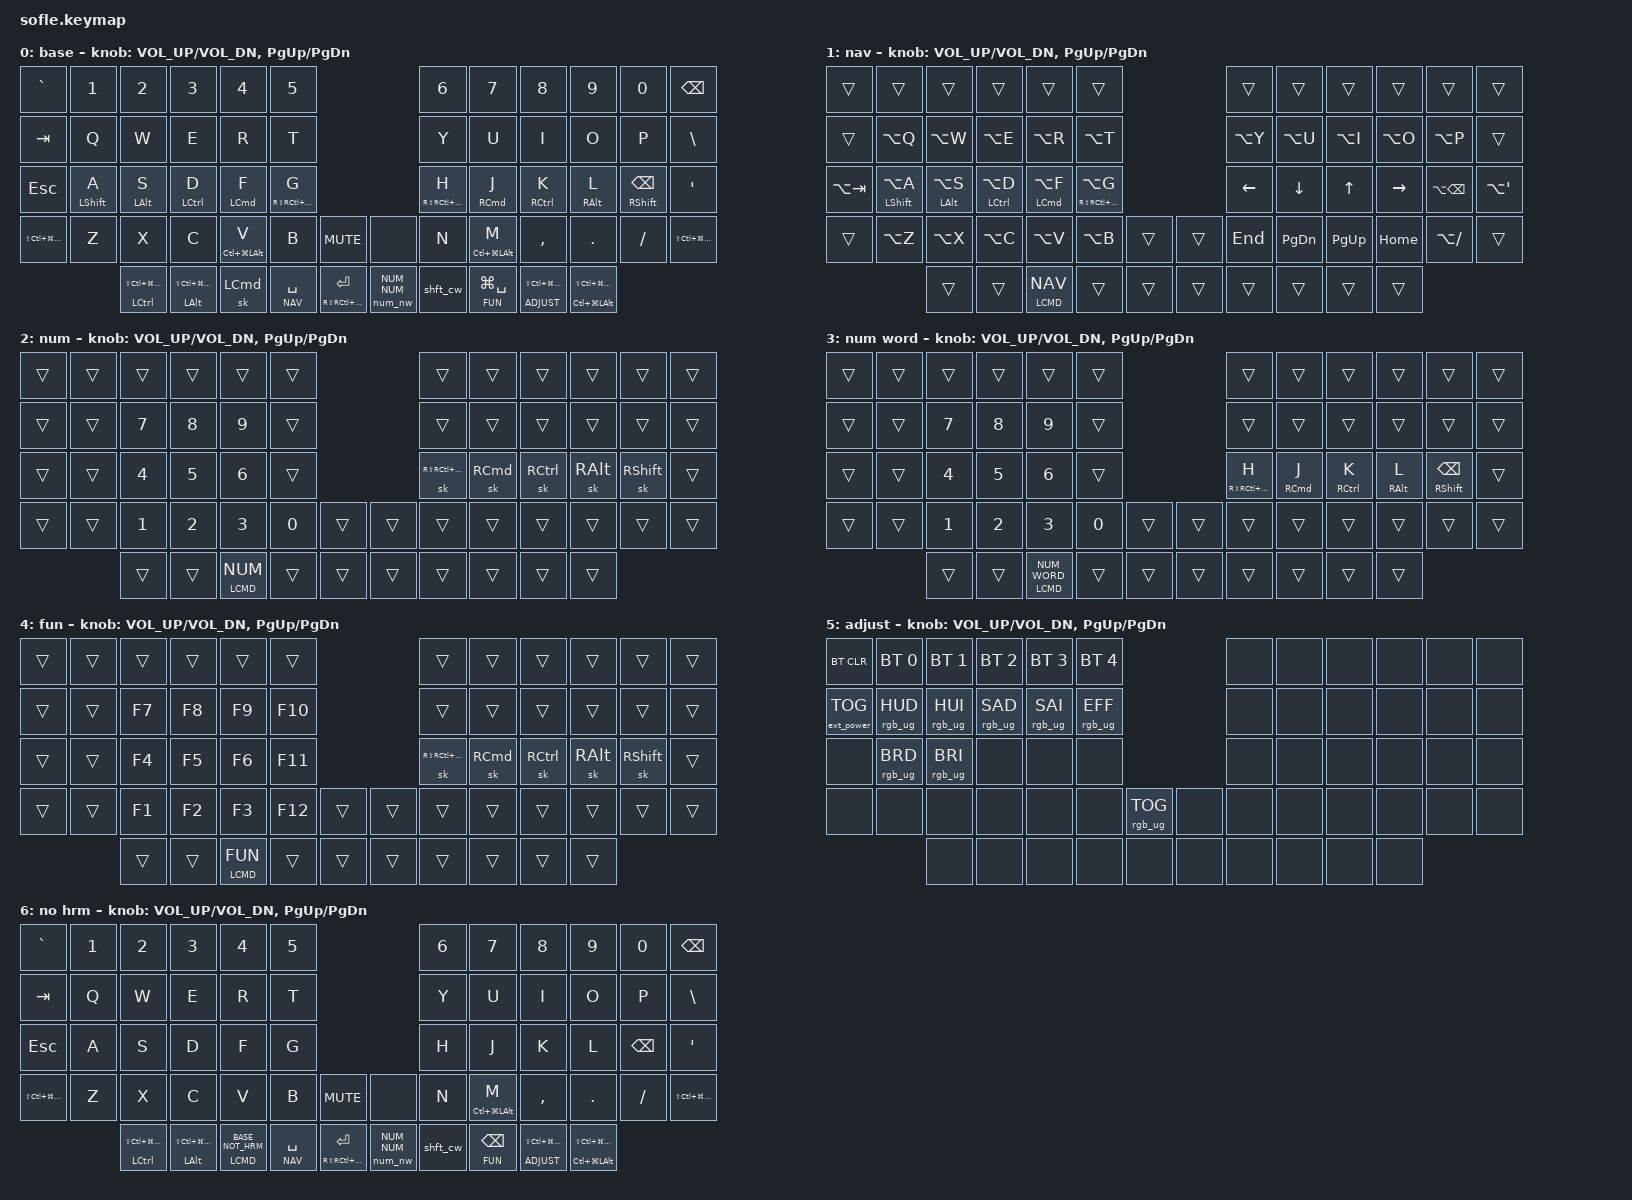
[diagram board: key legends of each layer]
/* source key position labels */
#include "includes/keypos_60keys.h"

#define KEYS_L LN0 LN1 LN2 LN3 LN4 LN5 LT0 LT1 LT2 LT3 LT4 LT5 LM0 LM1 LM2 LM3 LM4 LM5 LB0 LB1 LB2 LB3 LB4 LB5  // left hand
#define KEYS_R RN0 RN1 RN2 RN3 RN4 RN5 RT0 RT1 RT2 RT3 RT4 RT5 RM0 RM1 RM2 RM3 RM4 RM5 RB0 RB1 RB2 RB3 RB4 RB5 // right hand
#define KEYS_T LH4 LH3 LH2 LH1 LH0 RH0 RH1 RH2 RH3 RH4                                    // thumbs
// Layer define
#define BASE 0
#define NAV 1
#define NUM 2
#define NUM_WORD 3
#define FUN 4
#define ADJUST 5
#define BASE_NOT_HRM 6

// HYPER and MEH define
#define HYPER RS(RC(RG(LALT)))
#define MEH LC(LG(LALT))

// Left magic key
#define LMK LS(LC(LG(LA(F15))))
#define LMK1 LS(LC(LG(LA(F16))))
#define LMK2 LS(LC(LG(LA(F17))))
#define RMK LS(LC(LG(LA(F18))))
#define RMK1 LS(LC(LG(LA(F19))))
#define RMK2 LS(LC(LG(LA(F20))))

#define SPOTLIGHT LG(SPACE)


#include <behaviors.dtsi>
#include <dt-bindings/zmk/keys.h>
#include <dt-bindings/zmk/bt.h>
#include <dt-bindings/zmk/rgb.h>
#include <dt-bindings/zmk/ext_power.h>

#include "includes/settings.dtsi"
#include "includes/behaviours.dtsi"


// #define ADJUST 3
// #define MOUSE 5
// #define SYM 1

/* Global settings */
#define XXX &none
#define ___ &trans


#define COMBO_TERM_FAST 35
#define COMBO_TERM_SLOW 40
#define COMBO_PRIOR_IDLE 100

// #define MAKE_HRM(NAME, HOLD, TAP, TRIGGER_POS) \
//     ZMK_HOLD_TAP(NAME, \
//         flavor = "balanced"; \
//         tapping-term-ms = <280>; \
//         quick-tap-ms = <QUICK_TAP_MS>; \
//         require-prior-idle-ms = <150>; \
//         bindings = <HOLD>, <TAP>; \
//         hold-trigger-key-positions = <TRIGGER_POS>; \
//         hold-trigger-on-release; \
//     )
// MAKE_HRM(hml, &kp, &kp, KEYS_R THUMBS)  // left-hand HRMs
// MAKE_HRM(hmr, &kp, &kp, KEYS_L THUMBS)  // right-hand HRMs

// MAKE_HRM(hml_repeat, &kp, &key_repeat, KEYS_R THUMBS)  // used for HRM-combo
// MAKE_HRM(hmr_lpar_lt, &kp, &lpar_lt, KEYS_L THUMBS)    // "    "   "   "
// MAKE_HRM(hmr_rpar_gt, &kp, &rpar_gt, KEYS_L THUMBS)    // "    "   "   "

/* Nav cluster */
/ {

    combos {
/*                                      60 KEY MATRIX / LAYOUT MAPPING

  ╭────────────────────────────┬────────────────────────────╮ ╭─────────────────────────────┬─────────────────────────────╮
  │  0   1   2   3   4   5     │      6   7   8   9  10  11 │ │ LN5 LN4 LN3 LN2 LN1 LN0     │     RN0 RN1 RN2 RN3 RN4 RN5 │
  │ 12  13  14  15  16  17     │     18  19  20  21  22  23 │ │ LT5 LT4 LT3 LT2 LT1 LT0     │     RT0 RT1 RT2 RT3 RT4 RT5 │
  │ 24  25  26  27  28  29     │     30  31  32  33  34  35 │ │ LM5 LM4 LM3 LM2 LM1 LM0     │     RM0 RM1 RM2 RM3 RM4 RM5 │
  │ 36  37  38  39  40  41  42 │ 43  44  45  46  47  48  49 │ │ LB5 LB4 LB3 LB2 LB1 LB0 LEC │ REC RB0 RB1 RB2 RB3 RB4 RB5 │
  ╰───────╮ 50  51  52  53  54 │ 55  56  57  58  59 ╭───────╯ ╰───────╮ LH4 LH3 LH2 LH1 LH0 │ RH0 RH1 RH2 RH3 RH4 ╭───────╯
          ╰────────────────────┴────────────────────╯                 ╰─────────────────────┴─────────────────────╯         */
        compatible = "zmk,combos";
    
        combo_tog_base_no_hrm {
          timeout-ms = <COMBO_TERM_SLOW>;
          require-prior-idle-ms = <COMBO_PRIOR_IDLE>;
          key-positions = <38 39 40>;
          layers = <BASE NAV NUM NUM_WORD BASE_NOT_HRM>;
          bindings = <&tog BASE_NOT_HRM>;
        };

        cb_tab {
          timeout-ms = <COMBO_TERM_FAST>;
          require-prior-idle-ms = <COMBO_PRIOR_IDLE>;
          key-positions = <14 15>;
          layers = <BASE NAV NUM NUM_WORD BASE_NOT_HRM>;
          bindings = <&kp TAB>;
        };
        // cb_spotlight {
        //   timeout-ms = <COMBO_TERM_SLOW>;
        //   require-prior-idle-ms = <COMBO_PRIOR_IDLE>;
        //   key-positions = <15 16>;
        //   layers = <BASE BASE_NOT_HRM>;
        //   bindings = <&kp LG(SPACE)>;
        // };
        // cb_changeinputsource {
        //   timeout-ms = <COMBO_TERM_FAST>;
        //   require-prior-idle-ms = <COMBO_PRIOR_IDLE>;
        //   key-positions = <15 16>;
        //   layers = <BASE NAV NUM NUM_WORD BASE_NOT_HRM>;
        //   bindings = <&kp LC(SPACE)>;
        // };
        cb_changeinputsource_en {
          timeout-ms = <COMBO_TERM_FAST>;
          require-prior-idle-ms = <COMBO_PRIOR_IDLE>;
          key-positions = <15 28>;
          layers = <BASE NAV NUM>;
          bindings = <&kp LC(LG(LA(E)))>;
        };
        cb_changeinputsource_vi {
          timeout-ms = <COMBO_TERM_FAST>;
          require-prior-idle-ms = <COMBO_PRIOR_IDLE>;
          key-positions = <27 40>;
          layers = <BASE NAV NUM NUM_WORD BASE_NOT_HRM>;
          bindings = <&kp LC(LG(LA(V)))>;
        };
        cb_esc {
          timeout-ms = <COMBO_TERM_FAST>;
          require-prior-idle-ms = <COMBO_PRIOR_IDLE>;
          key-positions = <28 29>;
          layers = <BASE NAV NUM NUM_WORD BASE_NOT_HRM>;
          bindings = <&kp ESC>;
        };
        cb_close {
          timeout-ms = <COMBO_TERM_FAST>;
          require-prior-idle-ms = <COMBO_PRIOR_IDLE>;
          key-positions = <13 14>;
          layers = <BASE NAV NUM NUM_WORD BASE_NOT_HRM>;
          bindings = <&kp LG(W)>;
        };
        // cb_new { timeout-ms = <COMBO_TERM_FAST>;
        //   require-prior-idle-ms = <COMBO_PRIOR_IDLE>;
        //   key-positions = <16 17>;
        //   layers = <BASE NAV NUM NUM_WORD BASE_NOT_HRM>;
        //   bindings = <&kp LG(T)>;
        // };
        cb_paste {
          timeout-ms = <COMBO_TERM_FAST>;
          require-prior-idle-ms = <COMBO_PRIOR_IDLE>;
          key-positions = <39 40>;
          layers = <BASE NAV NUM NUM_WORD BASE_NOT_HRM>;
          bindings = <&kp LG(V)>;
        };
        cb_copy {
          timeout-ms = <COMBO_TERM_FAST>;
          require-prior-idle-ms = <COMBO_PRIOR_IDLE>;
          key-positions = <38 39>;
          layers = <BASE NAV NUM NUM_WORD BASE_NOT_HRM>;
          bindings = <&kp LG(C)>;
        };
        // cb_cut {
        //   timeout-ms = <COMBO_TERM_FAST>;
        //   require-prior-idle-ms = <COMBO_PRIOR_IDLE>;
        //   key-positions = <38 39>;
        //   layers = <BASE NAV NUM NUM_WORD BASE_NOT_HRM>;
        //   bindings = <&kp LG(X)>;
        // };
        cb_undo {
          timeout-ms = <COMBO_TERM_FAST>;
          require-prior-idle-ms = <COMBO_PRIOR_IDLE>;
          key-positions = <37 38>;
          layers = <BASE NAV NUM NUM_WORD BASE_NOT_HRM>;
          bindings = <&kp LG(Z)>;
        };
        cb_redo {
          timeout-ms = <COMBO_TERM_FAST>;
          require-prior-idle-ms = <COMBO_PRIOR_IDLE>;
          key-positions = <25 37>;
          layers = <BASE NAV NUM NUM_WORD BASE_NOT_HRM>;
          bindings = <&kp LG(LS(Z))>;
        };
        // cb_cmda {
        //   timeout-ms = <COMBO_TERM_FAST>;
        //   require-prior-idle-ms = <COMBO_PRIOR_IDLE>;
        //   key-positions = <25 26>;
        //   layers = <BASE NAV NUM NUM_WORD BASE_NOT_HRM>;
        //   bindings = <&kp LG(A)>;
        // };
        cb_optbackspace {
          timeout-ms = <COMBO_TERM_FAST>;
          require-prior-idle-ms = <COMBO_PRIOR_IDLE>;
          key-positions = <33 34>;
          layers = <BASE NAV NUM NUM_WORD BASE_NOT_HRM>;
          bindings = <&kp LA(BSPC)>;
        };
        cb_cmdbackspace {
          timeout-ms = <COMBO_TERM_FAST>;
          require-prior-idle-ms = <COMBO_PRIOR_IDLE>;
          key-positions = <34 48>;
          layers = <BASE NAV NUM NUM_WORD BASE_NOT_HRM>;
          bindings = <&kp RG(BSPC)>;
        };

/*                                      60 KEY MATRIX / LAYOUT MAPPING

  ╭────────────────────────────┬────────────────────────────╮ ╭─────────────────────────────┬─────────────────────────────╮
  │  0   1   2   3   4   5     │      6   7   8   9  10  11 │ │ LN5 LN4 LN3 LN2 LN1 LN0     │     RN0 RN1 RN2 RN3 RN4 RN5 │
  │ 12  13  14  15  16  17     │     18  19  20  21  22  23 │ │ LT5 LT4 LT3 LT2 LT1 LT0     │     RT0 RT1 RT2 RT3 RT4 RT5 │
  │ 24  25  26  27  28  29     │     30  31  32  33  34  35 │ │ LM5 LM4 LM3 LM2 LM1 LM0     │     RM0 RM1 RM2 RM3 RM4 RM5 │
  │ 36  37  38  39  40  41  42 │ 43  44  45  46  47  48  49 │ │ LB5 LB4 LB3 LB2 LB1 LB0 LEC │ REC RB0 RB1 RB2 RB3 RB4 RB5 │
  ╰───────╮ 50  51  52  53  54 │ 55  56  57  58  59 ╭───────╯ ╰───────╮ LH4 LH3 LH2 LH1 LH0 │ RH0 RH1 RH2 RH3 RH4 ╭───────╯
          ╰────────────────────┴────────────────────╯                 ╰─────────────────────┴─────────────────────╯         */
        // + - * % 
        cb_plus {
          timeout-ms = <COMBO_TERM_FAST>;
          require-prior-idle-ms = <COMBO_PRIOR_IDLE>;
          key-positions = <14 26>;
          layers = <BASE NUM NUM_WORD>;
          bindings = <&kp PLUS>;
        };
        cb_minus {
          timeout-ms = <COMBO_TERM_FAST>;
          require-prior-idle-ms = <COMBO_PRIOR_IDLE>;
          key-positions = <15 27>;
          layers = <BASE NUM NUM_WORD>;
          bindings = <&kp MINUS>;
        };
        cb_star {
          timeout-ms = <COMBO_TERM_FAST>;
          require-prior-idle-ms = <COMBO_PRIOR_IDLE>;
          key-positions = <16 28>;
          layers = <BASE NUM NUM_WORD>;
          bindings = <&kp ASTERISK>;
        };
        cb_percent {
          timeout-ms = <COMBO_TERM_FAST>;
          require-prior-idle-ms = <COMBO_PRIOR_IDLE>;
          key-positions = <17 29>;
          layers = <BASE NUM NUM_WORD>;
          bindings = <&kp PRCNT>;
        };
        // ! & | =
        cb_excl {
          timeout-ms = <COMBO_TERM_FAST>;
          require-prior-idle-ms = <COMBO_PRIOR_IDLE>;
          key-positions = <26 38>;
          layers = <BASE NUM NUM_WORD>;
          bindings = <&kp EXCL>;
        };
        cb_amps {
          timeout-ms = <COMBO_TERM_FAST>;
          require-prior-idle-ms = <COMBO_PRIOR_IDLE>;
          key-positions = <27 39>;
          layers = <BASE NUM NUM_WORD>;
          bindings = <&kp AMPS>;
        };
        cb_pipe {
          timeout-ms = <COMBO_TERM_FAST>;
          require-prior-idle-ms = <COMBO_PRIOR_IDLE>;
          key-positions = <28 40>;
          layers = <BASE NUM NUM_WORD>;
          bindings = <&kp PIPE>;
        };
        cb_equal {
          timeout-ms = <COMBO_TERM_FAST>;
          require-prior-idle-ms = <COMBO_PRIOR_IDLE>;
          key-positions = <29 41>;
          layers = <BASE NUM NUM_WORD>;
          bindings = <&kp EQUAL>;
        };
        // ^ $
        cb_caret {
          timeout-ms = <COMBO_TERM_FAST>;
          require-prior-idle-ms = <COMBO_PRIOR_IDLE>;
          key-positions = <18 30>;
          layers = <BASE NUM NUM_WORD>;
          bindings = <&kp CARET>;
        };
        cb_dollar {
          timeout-ms = <COMBO_TERM_FAST>;
          require-prior-idle-ms = <COMBO_PRIOR_IDLE>;
          key-positions = <21 33>;
          layers = <BASE NUM NUM_WORD>;
          bindings = <&kp DLLR>;
        };
/*                                      60 KEY MATRIX / LAYOUT MAPPING

  ╭────────────────────────────┬────────────────────────────╮ ╭─────────────────────────────┬─────────────────────────────╮
  │  0   1   2   3   4   5     │      6   7   8   9  10  11 │ │ LN5 LN4 LN3 LN2 LN1 LN0     │     RN0 RN1 RN2 RN3 RN4 RN5 │
  │ 12  13  14  15  16  17     │     18  19  20  21  22  23 │ │ LT5 LT4 LT3 LT2 LT1 LT0     │     RT0 RT1 RT2 RT3 RT4 RT5 │
  │ 24  25  26  27  28  29     │     30  31  32  33  34  35 │ │ LM5 LM4 LM3 LM2 LM1 LM0     │     RM0 RM1 RM2 RM3 RM4 RM5 │
  │ 36  37  38  39  40  41  42 │ 43  44  45  46  47  48  49 │ │ LB5 LB4 LB3 LB2 LB1 LB0 LEC │ REC RB0 RB1 RB2 RB3 RB4 RB5 │
  ╰───────╮ 50  51  52  53  54 │ 55  56  57  58  59 ╭───────╯ ╰───────╮ LH4 LH3 LH2 LH1 LH0 │ RH0 RH1 RH2 RH3 RH4 ╭───────╯
          ╰────────────────────┴────────────────────╯                 ╰─────────────────────┴─────────────────────╯         */
      
        
        // [ ] { } ( ) :;
        cb_lbkt {
          timeout-ms = <COMBO_TERM_FAST>;
          require-prior-idle-ms = <COMBO_PRIOR_IDLE>;
          key-positions = <18 19>;
          layers = <BASE NUM NUM_WORD>;
          bindings = <&kp LBKT>;
        };
        cb_rbkt { 
          timeout-ms = <COMBO_TERM_FAST>;
          require-prior-idle-ms = <COMBO_PRIOR_IDLE>;
          key-positions = <44 45>;
          layers = <BASE NUM NUM_WORD>;
          bindings = <&kp RBKT>;
        };
        cb_lbrc { 
          timeout-ms = <COMBO_TERM_FAST>;
          require-prior-idle-ms = <COMBO_PRIOR_IDLE>;
          key-positions = <19 20>;
          layers = <BASE NUM NUM_WORD>;
          bindings = <&kp LBRC>;
        };
        cb_rbrc { 
          timeout-ms = <COMBO_TERM_FAST>;
          require-prior-idle-ms = <COMBO_PRIOR_IDLE>;
          key-positions = <45 46>;
          layers = <BASE NUM NUM_WORD>;
          bindings = <&kp RBRC>;
        };
        cb_lpar {
          timeout-ms = <COMBO_TERM_FAST>;
          require-prior-idle-ms = <COMBO_PRIOR_IDLE>;
          key-positions = <20 21>;
          layers = <BASE NUM NUM_WORD>;
          bindings = <&kp LPAR>;
        };
        cb_rpar { 
          timeout-ms = <COMBO_TERM_FAST>;
          require-prior-idle-ms = <COMBO_PRIOR_IDLE>;
          key-positions = <46 47>;
          layers = <BASE NUM NUM_WORD>;
          bindings = <&kp RPAR>;
        };
        cb_semi {
          timeout-ms = <COMBO_TERM_FAST>;
          require-prior-idle-ms = <COMBO_PRIOR_IDLE>;
          key-positions = <32 45>;
          layers = <BASE NUM NUM_WORD>;
          bindings = <&kp SEMI>;
        };
        cb_colon { 
          timeout-ms = <COMBO_TERM_FAST>;
          require-prior-idle-ms = <COMBO_PRIOR_IDLE>;
          key-positions = <20 31>;
          layers = <BASE NUM NUM_WORD>;
          bindings = <&kp COLON>;
        };
     

        // " ' _ @
        cb_dqt { 
          timeout-ms = <COMBO_TERM_FAST>;
          require-prior-idle-ms = <COMBO_PRIOR_IDLE>;
          key-positions = <19 31>;
          layers = <BASE NUM NUM_WORD>;
          bindings = <&kp DQT>;
        };
        cb_under { 
          timeout-ms = <COMBO_TERM_FAST>;
          require-prior-idle-ms = <COMBO_PRIOR_IDLE>;
          key-positions = <20 32>;
          layers = <BASE NUM NUM_WORD>;
          bindings = <&kp UNDER>;
        };
        // cb_sqt { 
        //   timeout-ms = <COMBO_TERM_FAST>;
        //   require-prior-idle-ms = <COMBO_PRIOR_IDLE>;
        //   key-positions = <20 33>;
        //   layers = <BASE NUM NUM_WORD>;
        //   bindings = <&kp SQT>;
        // };
        cb_at {
          timeout-ms = <COMBO_TERM_FAST>;
          require-prior-idle-ms = <COMBO_PRIOR_IDLE>;
          key-positions = <30 31>;
          layers = <BASE NUM NUM_WORD>;
          bindings = <&kp AT>;
        };
        // ` ~  #  backslash
        cb_grave {
          timeout-ms = <COMBO_TERM_FAST>;
          require-prior-idle-ms = <COMBO_PRIOR_IDLE>;
          key-positions = <30 44>;
          layers = <BASE NUM NUM_WORD>;
          bindings = <&kp GRAVE>;
        };
        cb_tilde {
          timeout-ms = <COMBO_TERM_FAST>;
          require-prior-idle-ms = <COMBO_PRIOR_IDLE>;
          key-positions = <31 45>;
          layers = <BASE NUM NUM_WORD>;
          bindings = <&kp TILDE>;
        };
        cb_hash {
          timeout-ms = <COMBO_TERM_FAST>;
          require-prior-idle-ms = <COMBO_PRIOR_IDLE>;
          key-positions = <32 46>;
          layers = <BASE NUM NUM_WORD>;
          bindings = <&kp HASH>;
        };
        cb_backslash {
          timeout-ms = <COMBO_TERM_FAST>;
          require-prior-idle-ms = <COMBO_PRIOR_IDLE>;
          key-positions = <33 47>;
          layers = <BASE NUM NUM_WORD>;
          bindings = <&kp BSLH>;
        };

/*                                      60 KEY MATRIX / LAYOUT MAPPING

  ╭────────────────────────────┬────────────────────────────╮ ╭─────────────────────────────┬─────────────────────────────╮
  │  0   1   2   3   4   5     │      6   7   8   9  10  11 │ │ LN5 LN4 LN3 LN2 LN1 LN0     │     RN0 RN1 RN2 RN3 RN4 RN5 │
  │ 12  13  14  15  16  17     │     18  19  20  21  22  23 │ │ LT5 LT4 LT3 LT2 LT1 LT0     │     RT0 RT1 RT2 RT3 RT4 RT5 │
  │ 24  25  26  27  28  29     │     30  31  32  33  34  35 │ │ LM5 LM4 LM3 LM2 LM1 LM0     │     RM0 RM1 RM2 RM3 RM4 RM5 │
  │ 36  37  38  39  40  41  42 │ 43  44  45  46  47  48  49 │ │ LB5 LB4 LB3 LB2 LB1 LB0 LEC │ REC RB0 RB1 RB2 RB3 RB4 RB5 │
  ╰───────╮ 50  51  52  53  54 │ 55  56  57  58  59 ╭───────╯ ╰───────╮ LH4 LH3 LH2 LH1 LH0 │ RH0 RH1 RH2 RH3 RH4 ╭───────╯
          ╰────────────────────┴────────────────────╯                 ╰─────────────────────┴─────────────────────╯         */
         
    };
    keymap {
        compatible = "zmk,keymap";

        base_layer {
            display-name = "base";
            bindings = <
//╭──────────╮ ╭─────────────┬─────────────┬─────────────┬─────────────┬─────────────╮                              ╭─────────────┬─────────────┬─────────────┬─────────────┬─────────────╮ ╭──────────╮
   &kp GRAVE     &kp N1        &kp N2        &kp N3       &kp N4        &kp N5                                       &kp N6        &kp N7        &kp N8        &kp N9        &kp N0          &kp BSPC
//├──────────┤ ├─────────────┼─────────────┼─────────────┼─────────────┼─────────────┤                              ├─────────────┼─────────────┼─────────────┼─────────────┼─────────────┤ ├──────────┤
   &kp TAB       &kp Q         &kp W         &kp E        &kp R         &kp T                                        &kp Y         &kp U         &kp I         &kp O         &kp P           &kp BSLH
//├──────────┤ ├─────────────┼─────────────┼─────────────┼─────────────┼─────────────┤                              ├─────────────┼─────────────┼─────────────┼─────────────┼─────────────┤ ├──────────┤
   &kp ESC       &hml LSHIFT A &hml LALT S   &hml LCTRL D &hml LCMD F  &hml HYPER G                                 &hmr HYPER H  &hmr RCMD J   &hmr RCTRL K  &hmr RALT L   &hmr RSHFT BSPC &kp SQT
//├──────────┤ ├─────────────┼─────────────┼─────────────┼─────────────┼─────────────┼─────────────╮  ╭─────────────├─────────────┼─────────────┼─────────────┼─────────────┼─────────────┤ ├──────────┤
   &kp LMK     &kp Z         &kp X         &kp C         &hml MEH V    &kp B         &kp C_MUTE       &none         &kp N         &hmr MEH M    &kp COMMA     &kp DOT       &kp FSLH        &kp RMK
//├──────────┤ ├─────────────┼─────────────┼─────────────┼─────────────┼─────────────┼─────────────╮  ╭─────────────├─────────────┼─────────────┼─────────────┼─────────────┼─────────────┤ ├──────────┤
                              &mt LCTRL LMK2 &mt LALT LMK1 &sk LCMD    &lt NAV SPACE &mt HYPER  RET      &num_nw NUM NUM &shft_cw    &lt FUN SPOTLIGHT  &lt ADJUST RMK1 &mt MEH RMK2
//                           ├─────────────┼─────────────┼─────────────┼─────────────┼─────────────┤  ├─────────────┼─────────────┼─────────────┼─────────────┼─────────────┤
            >;
            sensor-bindings = <&inc_dec_kp C_VOL_UP C_VOL_DN &inc_dec_kp PG_UP PG_DN>;
        };
 
        nav_layer {
            display-name = "nav";
            bindings = <
//╭──────────╮ ╭─────────────┬─────────────┬─────────────┬─────────────┬─────────────╮                              ╭─────────────┬─────────────┬─────────────┬─────────────┬─────────────╮ ╭──────────╮
   &trans       &trans        &trans        &trans        &trans        &trans                                       &trans        &trans        &trans         &trans        &trans          &trans
//├──────────┤ ├─────────────┼─────────────┼─────────────┼─────────────┼─────────────┤                              ├─────────────┼─────────────┼─────────────┼─────────────┼─────────────┤ ├──────────┤
   &trans       &kp LA(Q)     &kp LA(W)     &kp LA(E)     &kp LA(R)     &kp LA(T)                                    &kp LA(Y)     &kp LA(U)     &kp LA(I)     &kp LA(O)     &kp LA(P)       &trans
//├──────────┤ ├─────────────┼─────────────┼─────────────┼─────────────┼─────────────┤                              ├─────────────┼─────────────┼─────────────┼─────────────┼─────────────┤ ├──────────┤
   &kp LA(TAB)  &hml LSHIFT LA(A) &hml LALT LA(S) &hml LCTRL LA(D) &hml LCMD LA(F) &hml HYPER LA(G)                  &kp LEFT      &kp DOWN      &kp UP        &kp RIGHT     &kp LA(BSPC)    &kp LA(SQT)
//├──────────┤ ├─────────────┼─────────────┼─────────────┼─────────────┼─────────────┼─────────────╮  ╭─────────────├─────────────┼─────────────┼─────────────┼─────────────┼─────────────┤ ├──────────┤
   &trans       &kp LA(Z)     &kp LA(X)    &kp LA(C)      &kp LA(V)     &kp LA(B)         &trans           &trans        &kp END       &kp PG_DN     &kp PG_UP     &kp HOME      &kp LA(FSLH)    &trans
//├──────────┤ ├─────────────┼─────────────┼─────────────┼─────────────┼─────────────┼─────────────╮  ╭─────────────├─────────────┼─────────────┼─────────────┼─────────────┼─────────────┤ ├──────────┤
                              &trans        &trans        &ltog LCMD NAV  &trans        &trans           &trans        &trans        &trans        &trans        &trans
//                           ├─────────────┼─────────────┼─────────────┼─────────────┼─────────────┤  ├─────────────┼─────────────┼─────────────┼─────────────┼─────────────┤
            >;
            sensor-bindings = <&inc_dec_kp C_VOL_UP C_VOL_DN &inc_dec_kp PG_UP PG_DN>;
        };
        num_layer {
            display-name = "num";
            bindings = <
//╭──────────╮ ╭─────────────┬─────────────┬─────────────┬─────────────┬─────────────╮                              ╭─────────────┬─────────────┬─────────────┬─────────────┬─────────────╮ ╭──────────╮
   &trans        &trans        &trans        &trans        &trans        &trans                                       &trans        &trans        &trans        &trans        &trans          &trans
//├──────────┤ ├─────────────┼─────────────┼─────────────┼─────────────┼─────────────┤                              ├─────────────┼─────────────┼─────────────┼─────────────┼─────────────┤ ├──────────┤
   &trans        &trans        &kp N7       &kp N8        &kp N9        &trans                                       &trans        &trans     &trans        &trans        &trans          &trans
//├──────────┤ ├─────────────┼─────────────┼─────────────┼─────────────┼─────────────┤                              ├─────────────┼─────────────┼─────────────┼─────────────┼─────────────┤ ├──────────┤
   &trans        &trans        &kp N4       &kp N5        &kp N6        &trans                                      &sk HYPER     &sk RCMD      &sk RCTRL     &sk RALT      &sk RSHFT       &trans
//├──────────┤ ├─────────────┼─────────────┼─────────────┼─────────────┼─────────────┼─────────────╮  ╭─────────────├─────────────┼─────────────┼─────────────┼─────────────┼─────────────┤ ├──────────┤
   &trans        &trans        &kp N1       &kp N2        &kp N3        &kp N0        &trans           &trans        &trans        &trans        &trans       &trans         &trans        &trans
//├──────────┤ ├─────────────┼─────────────┼─────────────┼─────────────┼─────────────┼─────────────╮  ╭─────────────├─────────────┼─────────────┼─────────────┼─────────────┼─────────────┤ ├──────────┤
                               &trans       &trans        &ltog LCMD NUM        &trans        &trans           &trans        &trans        &trans        &trans        &trans
//                           ├─────────────┼─────────────┼─────────────┼─────────────┼─────────────┤  ├─────────────┼─────────────┼─────────────┼─────────────┼─────────────┤
            >;
            sensor-bindings = <&inc_dec_kp C_VOL_UP C_VOL_DN &inc_dec_kp PG_UP PG_DN>;
        };
        num_word_layer {
            display-name = "num word";
            bindings = <

//╭──────────╮ ╭─────────────┬─────────────┬─────────────┬─────────────┬─────────────╮                              ╭─────────────┬─────────────┬─────────────┬─────────────┬─────────────╮ ╭──────────╮
   &trans        &trans        &trans        &trans        &trans        &trans                                       &trans        &trans        &trans        &trans        &trans          &trans
//├──────────┤ ├─────────────┼─────────────┼─────────────┼─────────────┼─────────────┤                              ├─────────────┼─────────────┼─────────────┼─────────────┼─────────────┤ ├──────────┤
   &trans        &trans        &kp N7       &kp N8        &kp N9        &trans                                       &trans        &trans     &trans        &trans        &trans          &trans
//├──────────┤ ├─────────────┼─────────────┼─────────────┼─────────────┼─────────────┤                              ├─────────────┼─────────────┼─────────────┼─────────────┼─────────────┤ ├──────────┤
   &trans        &trans        &kp N4       &kp N5        &kp N6        &trans                                      &hmr HYPER H   &hmr RCMD J  &hmr RCTRL K  &hmr RALT L   &hmr RSHFT BSPC &trans
//├──────────┤ ├─────────────┼─────────────┼─────────────┼─────────────┼─────────────┼─────────────╮  ╭─────────────├─────────────┼─────────────┼─────────────┼─────────────┼─────────────┤ ├──────────┤
   &trans        &trans        &kp N1       &kp N2        &kp N3        &kp N0        &trans           &trans        &trans        &trans        &trans       &trans         &trans        &trans
//├──────────┤ ├─────────────┼─────────────┼─────────────┼─────────────┼─────────────┼─────────────╮  ╭─────────────├─────────────┼─────────────┼─────────────┼─────────────┼─────────────┤ ├──────────┤
                               &trans       &trans        &ltog LCMD NUM_WORD &trans        &trans           &trans        &trans        &trans        &trans        &trans
//                           ├─────────────┼─────────────┼─────────────┼─────────────┼─────────────┤  ├─────────────┼─────────────┼─────────────┼─────────────┼─────────────┤
            >;
           sensor-bindings = <&inc_dec_kp C_VOL_UP C_VOL_DN &inc_dec_kp PG_UP PG_DN>;
        };
        fun_layer {
            display-name = "fun";
            bindings = <
//╭──────────╮ ╭─────────────┬─────────────┬─────────────┬─────────────┬─────────────╮                              ╭─────────────┬─────────────┬─────────────┬─────────────┬─────────────╮ ╭──────────╮
   &trans       &trans        &trans        &trans        &trans        &trans                                       &trans        &trans        &trans        &trans        &trans          &trans
//├──────────┤ ├─────────────┼─────────────┼─────────────┼─────────────┼─────────────┤                              ├─────────────┼─────────────┼─────────────┼─────────────┼─────────────┤ ├──────────┤
   &trans       &trans        &kp F7        &kp F8        &kp F9        &kp F10                                      &trans        &trans        &trans        &trans        &trans          &trans
//├──────────┤ ├─────────────┼─────────────┼─────────────┼─────────────┼─────────────┤                              ├─────────────┼─────────────┼─────────────┼─────────────┼─────────────┤ ├──────────┤
   &trans       &trans        &kp F4        &kp F5        &kp F6        &kp F11                                      &sk HYPER     &sk RCMD     &sk RCTRL     &sk RALT      &sk RSHFT        &trans
//├──────────┤ ├─────────────┼─────────────┼─────────────┼─────────────┼─────────────┼─────────────╮  ╭─────────────├─────────────┼─────────────┼─────────────┼─────────────┼─────────────┤ ├──────────┤
   &trans       &trans        &kp F1        &kp F2        &kp F3        &kp F12       &trans           &trans        &trans        &trans        &trans        &trans        &trans          &trans
//├──────────┤ ├─────────────┼─────────────┼─────────────┼─────────────┼─────────────┼─────────────╮  ╭─────────────├─────────────┼─────────────┼─────────────┼─────────────┼─────────────┤ ├──────────┤
                              &trans        &trans        &ltog LCMD FUN  &trans        &trans           &trans        &trans        &trans        &trans        &trans
//                           ├─────────────┼─────────────┼─────────────┼─────────────┼─────────────┤  ├─────────────┼─────────────┼─────────────┼─────────────┼─────────────┤
            >;
            sensor-bindings = <&inc_dec_kp C_VOL_UP C_VOL_DN &inc_dec_kp PG_UP PG_DN>;
        };
        adjust_layer {
            display-name = "adjust";
            bindings = <
//╭──────────╮ ╭─────────────┬─────────────┬─────────────┬─────────────┬─────────────╮                              ╭─────────────┬─────────────┬─────────────┬─────────────┬─────────────╮ ╭──────────╮
   &bt BT_CLR   &bt BT_SEL 0  &bt BT_SEL 1  &bt BT_SEL 2  &bt BT_SEL 3  &bt BT_SEL 4                                 &none         &none         &none         &none         &none           &none
//├──────────┤ ├─────────────┼─────────────┼─────────────┼─────────────┼─────────────┤                              ├─────────────┼─────────────┼─────────────┼─────────────┼─────────────┤ ├──────────┤
   &ext_power EP_TOG &rgb_ug RGB_HUD &rgb_ug RGB_HUI &rgb_ug RGB_SAD &rgb_ug RGB_SAI &rgb_ug RGB_EFF                 &none         &none         &none         &none         &none           &none
//├──────────┤ ├─────────────┼─────────────┼─────────────┼─────────────┼─────────────┤                              ├─────────────┼─────────────┼─────────────┼─────────────┼─────────────┤ ├──────────┤
   &none        &rgb_ug RGB_BRD &rgb_ug RGB_BRI &none         &none         &none                                    &none         &none         &none         &none         &none           &none
//├──────────┤ ├─────────────┼─────────────┼─────────────┼─────────────┼─────────────┼─────────────╮  ╭─────────────├─────────────┼─────────────┼─────────────┼─────────────┼─────────────┤ ├──────────┤
   &none        &none         &none         &none         &none         &none         &rgb_ug RGB_TOG  &none         &none         &none         &none         &none         &none           &none
//├──────────┤ ├─────────────┼─────────────┼─────────────┼─────────────┼─────────────┼─────────────╮  ╭─────────────├─────────────┼─────────────┼─────────────┼─────────────┼─────────────┤ ├──────────┤
                              &none         &none         &none         &none         &none            &none         &none         &none         &none         &none
//                           ├─────────────┼─────────────┼─────────────┼─────────────┼─────────────┤  ├─────────────┼─────────────┼─────────────┼─────────────┼─────────────┤
            >;
            sensor-bindings = <&inc_dec_kp C_VOL_UP C_VOL_DN &inc_dec_kp PG_UP PG_DN>;
        };
      
        base_no_hrm_layer {
            display-name = "no hrm";
            bindings = <
//╭──────────╮ ╭─────────────┬─────────────┬─────────────┬─────────────┬─────────────╮                              ╭─────────────┬─────────────┬─────────────┬─────────────┬─────────────╮ ╭──────────╮
   &kp GRAVE     &kp N1        &kp N2        &kp N3       &kp N4        &kp N5                                       &kp N6        &kp N7        &kp N8        &kp N9        &kp N0          &kp BSPC
//├──────────┤ ├─────────────┼─────────────┼─────────────┼─────────────┼─────────────┤                              ├─────────────┼─────────────┼─────────────┼─────────────┼─────────────┤ ├──────────┤
   &kp TAB       &kp Q         &kp W         &kp E        &kp R         &kp T                                        &kp Y         &kp U         &kp I         &kp O         &kp P           &kp BSLH
//├──────────┤ ├─────────────┼─────────────┼─────────────┼─────────────┼─────────────┤                              ├─────────────┼─────────────┼─────────────┼─────────────┼─────────────┤ ├──────────┤
   &kp ESC       &kp A         &kp S        &kp D &kp F  &kp G                                 &kp H  &kp J   &kp K  &kp L   &kp BSPC &kp SQT
//├──────────┤ ├─────────────┼─────────────┼─────────────┼─────────────┼─────────────┼─────────────╮  ╭─────────────├─────────────┼─────────────┼─────────────┼─────────────┼─────────────┤ ├──────────┤
   &kp LMK     &kp Z         &kp X         &kp C         &kp V    &kp B         &kp C_MUTE       &none         &kp N         &hmr MEH M    &kp COMMA     &kp DOT       &kp FSLH        &kp RMK
//├──────────┤ ├─────────────┼─────────────┼─────────────┼─────────────┼─────────────┼─────────────╮  ╭─────────────├─────────────┼─────────────┼─────────────┼─────────────┼─────────────┤ ├──────────┤
                              &mt LCTRL LMK2 &mt LALT LMK1 &ltog LCMD BASE_NOT_HRM &lt NAV SPACE &mt HYPER  RET      &num_nw NUM NUM &shft_cw    &lt FUN BSPC  &lt ADJUST RMK1 &mt MEH RMK2
//                           ├─────────────┼─────────────┼─────────────┼─────────────┼─────────────┤  ├─────────────┼─────────────┼─────────────┼─────────────┼─────────────┤
            >;
            sensor-bindings = <&inc_dec_kp C_VOL_UP C_VOL_DN &inc_dec_kp PG_UP PG_DN>;
        };
    };
};
